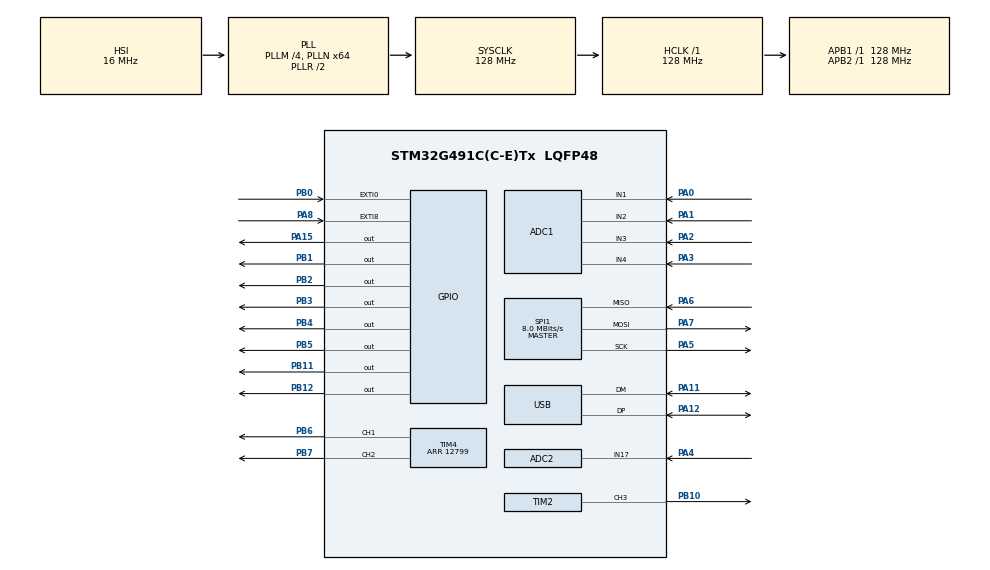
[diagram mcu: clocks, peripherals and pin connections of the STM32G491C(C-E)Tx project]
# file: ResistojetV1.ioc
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ADC1.Channel-1\#ChannelRegularConversion=ADC_CHANNEL_3
ADC1.Channel-10\#ChannelRegularConversion=ADC_CHANNEL_1
ADC1.Channel-8\#ChannelRegularConversion=ADC_CHANNEL_2
ADC1.Channel-9\#ChannelRegularConversion=ADC_CHANNEL_4
ADC1.DMAContinuousRequests=ENABLE
ADC1.EOCSelection=ADC_EOC_SEQ_CONV
ADC1.ExternalTrigConv=ADC_EXTERNALTRIG_T6_TRGO
ADC1.NbrOfConversion=4
ADC1.NbrOfConversionFlag=1
ADC1.OffsetNumber-10\#ChannelRegularConversion=ADC_OFFSET_NONE
ADC1.OffsetNumber-8\#ChannelRegularConversion=ADC_OFFSET_NONE
ADC1.OffsetNumber-9\#ChannelRegularConversion=ADC_OFFSET_NONE
ADC1.Overrun=ADC_OVR_DATA_OVERWRITTEN
ADC1.Rank-10\#ChannelRegularConversion=4
ADC1.Rank-8\#ChannelRegularConversion=2
ADC1.Rank-9\#ChannelRegularConversion=3
ADC1.SamplingTime-1\#ChannelRegularConversion=ADC_SAMPLETIME_6CYCLES_5
ADC1.SamplingTime-10\#ChannelRegularConversion=ADC_SAMPLETIME_6CYCLES_5
ADC1.SamplingTime-8\#ChannelRegularConversion=ADC_SAMPLETIME_6CYCLES_5
ADC1.SamplingTime-9\#ChannelRegularConversion=ADC_SAMPLETIME_6CYCLES_5
ADC1.master=1
ADC2.Channel-0\#ChannelRegularConversion=ADC_CHANNEL_17
ADC2.DMAContinuousRequests=ENABLE
ADC2.ExternalTrigConv=ADC_EXTERNALTRIG_T6_TRGO
ADC2.NbrOfConversionFlag=1
ADC2.OffsetNumber-0\#ChannelRegularConversion=ADC_OFFSET_NONE
ADC2.Overrun=ADC_OVR_DATA_OVERWRITTEN
ADC2.Rank-0\#ChannelRegularConversion=1
ADC2.SamplingTime-0\#ChannelRegularConversion=ADC_SAMPLETIME_6CYCLES_5
Dma.ADC1.2.Direction=DMA_PERIPH_TO_MEMORY
Dma.ADC1.2.EventEnable=DISABLE
Dma.ADC1.2.Instance=DMA1_Channel1
Dma.ADC1.2.MemDataAlignment=DMA_MDATAALIGN_HALFWORD
Dma.ADC1.2.MemInc=DMA_MINC_ENABLE
Dma.ADC1.2.Mode=DMA_CIRCULAR
Dma.ADC1.2.PeriphDataAlignment=DMA_PDATAALIGN_HALFWORD
Dma.ADC1.2.PeriphInc=DMA_PINC_DISABLE
Dma.ADC1.2.Polarity=HAL_DMAMUX_REQ_GEN_RISING
Dma.ADC1.2.Priority=DMA_PRIORITY_HIGH
Dma.ADC1.2.RequestNumber=1
Dma.ADC1.2.SignalID=NONE
Dma.ADC1.2.SyncEnable=DISABLE
Dma.ADC1.2.SyncPolarity=HAL_DMAMUX_SYNC_NO_EVENT
Dma.ADC1.2.SyncRequestNumber=1
Dma.ADC1.2.SyncSignalID=NONE
Dma.ADC2.0.Direction=DMA_PERIPH_TO_MEMORY
Dma.ADC2.0.EventEnable=DISABLE
Dma.ADC2.0.Instance=DMA1_Channel2
Dma.ADC2.0.MemDataAlignment=DMA_MDATAALIGN_HALFWORD
Dma.ADC2.0.MemInc=DMA_MINC_ENABLE
Dma.ADC2.0.Mode=DMA_CIRCULAR
Dma.ADC2.0.PeriphDataAlignment=DMA_PDATAALIGN_HALFWORD
Dma.ADC2.0.PeriphInc=DMA_PINC_DISABLE
Dma.ADC2.0.Polarity=HAL_DMAMUX_REQ_GEN_RISING
Dma.ADC2.0.Priority=DMA_PRIORITY_HIGH
Dma.ADC2.0.RequestNumber=1
Dma.ADC2.0.SignalID=NONE
Dma.ADC2.0.SyncEnable=DISABLE
Dma.ADC2.0.SyncPolarity=HAL_DMAMUX_SYNC_NO_EVENT
Dma.ADC2.0.SyncRequestNumber=1
Dma.ADC2.0.SyncSignalID=NONE
Dma.Request0=ADC2
Dma.Request1=SPI1_RX
Dma.Request2=ADC1
Dma.Request3=SPI1_TX
Dma.SPI1_RX.1.Direction=DMA_PERIPH_TO_MEMORY
Dma.SPI1_RX.1.EventEnable=DISABLE
Dma.SPI1_RX.1.Instance=DMA1_Channel3
Dma.SPI1_RX.1.MemDataAlignment=DMA_MDATAALIGN_BYTE
Dma.SPI1_RX.1.MemInc=DMA_MINC_ENABLE
Dma.SPI1_RX.1.Mode=DMA_NORMAL
Dma.SPI1_RX.1.PeriphDataAlignment=DMA_PDATAALIGN_BYTE
Dma.SPI1_RX.1.PeriphInc=DMA_PINC_DISABLE
Dma.SPI1_RX.1.Polarity=HAL_DMAMUX_REQ_GEN_RISING
Dma.SPI1_RX.1.Priority=DMA_PRIORITY_VERY_HIGH
Dma.SPI1_RX.1.RequestNumber=1
Dma.SPI1_RX.1.SignalID=NONE
Dma.SPI1_RX.1.SyncEnable=DISABLE
Dma.SPI1_RX.1.SyncPolarity=HAL_DMAMUX_SYNC_NO_EVENT
Dma.SPI1_RX.1.SyncRequestNumber=1
Dma.SPI1_RX.1.SyncSignalID=NONE
Dma.SPI1_TX.3.Direction=DMA_MEMORY_TO_PERIPH
Dma.SPI1_TX.3.EventEnable=DISABLE
Dma.SPI1_TX.3.Instance=DMA1_Channel4
Dma.SPI1_TX.3.MemDataAlignment=DMA_MDATAALIGN_BYTE
Dma.SPI1_TX.3.MemInc=DMA_MINC_ENABLE
Dma.SPI1_TX.3.Mode=DMA_NORMAL
Dma.SPI1_TX.3.PeriphDataAlignment=DMA_PDATAALIGN_BYTE
Dma.SPI1_TX.3.PeriphInc=DMA_PINC_DISABLE
Dma.SPI1_TX.3.Polarity=HAL_DMAMUX_REQ_GEN_RISING
Dma.SPI1_TX.3.Priority=DMA_PRIORITY_VERY_HIGH
Dma.SPI1_TX.3.RequestNumber=1
Dma.SPI1_TX.3.SignalID=NONE
Dma.SPI1_TX.3.SyncEnable=DISABLE
Dma.SPI1_TX.3.SyncPolarity=HAL_DMAMUX_SYNC_NO_EVENT
Dma.SPI1_TX.3.SyncRequestNumber=1
Dma.SPI1_TX.3.SyncSignalID=NONE
Mcu.Family=STM32G4
Mcu.Name=STM32G491C(C-E)Tx
Mcu.Package=LQFP48
NVIC.DMA1_Channel1_IRQn=true\:0\:0\:false\:false\:true\:false\:true\:true
NVIC.DMA1_Channel2_IRQn=true\:0\:0\:false\:false\:true\:false\:true\:true
NVIC.DMA1_Channel3_IRQn=true\:0\:0\:false\:false\:true\:false\:true\:true
NVIC.DMA1_Channel4_IRQn=true\:0\:0\:false\:false\:true\:false\:true\:true
NVIC.PriorityGroup=NVIC_PRIORITYGROUP_4
NVIC.USB_LP_IRQn=true\:0\:0\:false\:false\:true\:false\:true\:true
PA0.Mode=IN1-Single-Ended
PA0.Signal=ADC1_IN1
PA1.Mode=IN2-Single-Ended
PA1.Signal=ADC1_IN2
PA11.Mode=Device
PA11.Signal=USB_DM
PA12.Mode=Device
PA12.Signal=USB_DP
PA13.Mode=Serial_Wire
PA13.Signal=SYS_JTMS-SWDIO
PA14.Mode=Serial_Wire
PA14.Signal=SYS_JTCK-SWCLK
PA15.Signal=GPIO_Output
PA2.Mode=IN3-Single-Ended
PA2.Signal=ADC1_IN3
PA3.Mode=IN4-Single-Ended
PA3.Signal=ADC1_IN4
PA4.Mode=IN17-Single-Ended
PA4.Signal=ADC2_IN17
PA5.Mode=Full_Duplex_Master
PA5.Signal=SPI1_SCK
PA6.Mode=Full_Duplex_Master
PA6.Signal=SPI1_MISO
PA7.Mode=Full_Duplex_Master
PA7.Signal=SPI1_MOSI
PA8.Signal=GPXTI8
PB0.Signal=GPXTI0
PB1.PinState=GPIO_PIN_SET
PB1.Signal=GPIO_Output
PB10.Signal=S_TIM2_CH3
PB11.Signal=GPIO_Output
PB12.Signal=GPIO_Output
PB2.PinState=GPIO_PIN_SET
PB2.Signal=GPIO_Output
PB3.Signal=GPIO_Output
PB4.Signal=GPIO_Output
PB5.Signal=GPIO_Output
PB6.Signal=S_TIM4_CH1
PB7.Signal=S_TIM4_CH2
ProjectManager.HeapSize=0x200
ProjectManager.StackSize=0x400
ProjectManager.TargetToolchain=STM32CubeIDE
RCC.ADC12Freq_Value=128000000
RCC.ADC345Freq_Value=128000000
RCC.AHBFreq_Value=128000000
RCC.APB1Freq_Value=128000000
RCC.APB1TimFreq_Value=128000000
RCC.APB2Freq_Value=128000000
RCC.APB2TimFreq_Value=128000000
RCC.CortexFreq_Value=128000000
RCC.EXTERNAL_CLOCK_VALUE=12288000
RCC.HCLKFreq_Value=128000000
RCC.HSE_VALUE=8000000
RCC.HSI48_VALUE=48000000
RCC.HSI_VALUE=16000000
RCC.LSE_VALUE=32768
RCC.PLLM=RCC_PLLM_DIV4
RCC.PLLN=64
RCC.PLLP=RCC_PLLP_DIV4
RCC.SYSCLKFreq_VALUE=128000000
RCC.SYSCLKSource=RCC_SYSCLKSOURCE_PLLCLK
RCC.USBFreq_Value=48000000
RCC.VCOOutputFreq_Value=256000000
SH.S_TIM2_CH3.0=TIM2_CH3,PWM Generation3 CH3
SH.S_TIM4_CH1.0=TIM4_CH1,PWM Generation1 CH1
SH.S_TIM4_CH2.0=TIM4_CH2,PWM Generation2 CH2
SPI1.BaudRatePrescaler=SPI_BAUDRATEPRESCALER_16
SPI1.CLKPhase=SPI_PHASE_2EDGE
SPI1.CalculateBaudRate=8.0 MBits/s
SPI1.DataSize=SPI_DATASIZE_8BIT
SPI1.Direction=SPI_DIRECTION_2LINES
SPI1.Mode=SPI_MODE_MASTER
SPI1.VirtualType=VM_MASTER
TIM2.Channel-PWM\ Generation3\ CH3=TIM_CHANNEL_3
TIM2.PeriodNoDither=15
TIM2.PulseNoDither_3=8
TIM4.AutoReloadPreload=TIM_AUTORELOAD_PRELOAD_DISABLE
TIM4.Channel-PWM\ Generation1\ CH1=TIM_CHANNEL_1
TIM4.Channel-PWM\ Generation2\ CH2=TIM_CHANNEL_2
TIM4.PeriodNoDither=12799
TIM6.PeriodNoDither=399
TIM6.TIM_MasterOutputTrigger=TIM_TRGO_UPDATE
USB_DEVICE.CLASS_NAME_FS=CDC
USB_DEVICE.VirtualMode=Cdc
USB_DEVICE.VirtualModeFS=Cdc_FS
VP_SYS_VS_DBSignals.Mode=DisableDeadBatterySignals
VP_TIM2_VS_ClockSourceINT.Mode=Internal
VP_TIM4_VS_ClockSourceINT.Mode=Internal
VP_TIM6_VS_ClockSourceINT.Mode=Enable_Timer
VP_USB_DEVICE_VS_USB_DEVICE_CDC_FS.Mode=CDC_FS
board=custom

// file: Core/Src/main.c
/* USER CODE BEGIN Header */
/**
  ******************************************************************************
  * @file           : main.c
  * @brief          : Main program body
  ******************************************************************************
  * @attention
  *
  * Copyright (c) 2026 STMicroelectronics.
  * All rights reserved.
  *
  * This software is licensed under terms that can be found in the LICENSE file
  * in the root directory of this software component.
  * If no LICENSE file comes with this software, it is provided AS-IS.
  *
  ******************************************************************************
  */
/* USER CODE END Header */
#include "main.h"
#include "usb_device.h"

/* USER CODE BEGIN Includes */
#include "pins.h"
#include "usb.h"
#include "sensors.h"
#include "control.h"
/* USER CODE END Includes */

/* USER CODE BEGIN PD */
#define ADC1_BUFFER_SIZE 4
#define ADC2_BUFFER_SIZE 1
/* USER CODE END PD */

ADC_HandleTypeDef hadc1;
ADC_HandleTypeDef hadc2;
DMA_HandleTypeDef hdma_adc1;
DMA_HandleTypeDef hdma_adc2;

SPI_HandleTypeDef hspi1;
DMA_HandleTypeDef hdma_spi1_rx;
DMA_HandleTypeDef hdma_spi1_tx;

TIM_HandleTypeDef htim2;
TIM_HandleTypeDef htim4;
TIM_HandleTypeDef htim6;

/* USER CODE BEGIN PV */
// ADC
uint16_t adc1Buffer[ADC1_BUFFER_SIZE];
uint16_t adc2Buffer[ADC2_BUFFER_SIZE];

// Flags
uint8_t settlingFlag = 0;
uint8_t primingFlag = 0;
uint8_t firingFlag = 0;
uint8_t streamFlag = 0;
uint8_t fillValveFlag = 0;
uint8_t plenumValveFlag = 0;
uint8_t chamberValveFlag = 0;

/* USER CODE END PV */

void SystemClock_Config(void);
static void MX_GPIO_Init(void);
static void MX_DMA_Init(void);
static void MX_ADC1_Init(void);
static void MX_ADC2_Init(void);
static void MX_SPI1_Init(void);
static void MX_TIM2_Init(void);
static void MX_TIM6_Init(void);
static void MX_TIM4_Init(void);
/* USER CODE BEGIN PFP */
void thrusterStartup(void);

void sensorTask(void);
void stateTask(void);
void controlTask(void);
void valveTask(void);
void debugLEDTask(void);

float interpolateLinear(float x, float x1, float x2, float y1, float y2);
/* USER CODE END PFP */

int main(void)
{

  /* MCU Configuration--------------------------------------------------------*/

  /* Reset of all peripherals, Initializes the Flash interface and the Systick. */
  HAL_Init();

  /* Configure the system clock */
  SystemClock_Config();

  /* Initialize all configured peripherals */
  MX_GPIO_Init();
  MX_DMA_Init();
  MX_ADC1_Init();
  MX_ADC2_Init();
  MX_SPI1_Init();
  MX_TIM2_Init();
  MX_USB_Device_Init();
  MX_TIM6_Init();
  MX_TIM4_Init();
  /* USER CODE BEGIN 2 */
  thrusterStartup();
  /* USER CODE END 2 */

  /* Infinite loop */
  /* USER CODE BEGIN WHILE */
  while (1)
  {
	  sensorTask();
	  usbCommandTask();
	  stateTask();
	  controlTask();
	  usbStreamTask();
	  valveTask();
	  debugLEDTask();
    /* USER CODE END WHILE */

  }
}

void SystemClock_Config(void)
{
  RCC_OscInitTypeDef RCC_OscInitStruct = {0};
  RCC_ClkInitTypeDef RCC_ClkInitStruct = {0};

  /** Configure the main internal regulator output voltage
  */
  HAL_PWREx_ControlVoltageScaling(PWR_REGULATOR_VOLTAGE_SCALE1);

  /** Initializes the RCC Oscillators according to the specified parameters
  * in the RCC_OscInitTypeDef structure.
  */
  RCC_OscInitStruct.OscillatorType = RCC_OSCILLATORTYPE_HSI|RCC_OSCILLATORTYPE_HSI48;
  RCC_OscInitStruct.HSIState = RCC_HSI_ON;
  RCC_OscInitStruct.HSICalibrationValue = RCC_HSICALIBRATION_DEFAULT;
  RCC_OscInitStruct.HSI48State = RCC_HSI48_ON;
  RCC_OscInitStruct.PLL.PLLState = RCC_PLL_ON;
  RCC_OscInitStruct.PLL.PLLSource = RCC_PLLSOURCE_HSI;
  RCC_OscInitStruct.PLL.PLLM = RCC_PLLM_DIV4;
  RCC_OscInitStruct.PLL.PLLN = 64;
  RCC_OscInitStruct.PLL.PLLP = RCC_PLLP_DIV4;
  RCC_OscInitStruct.PLL.PLLQ = RCC_PLLQ_DIV2;
  RCC_OscInitStruct.PLL.PLLR = RCC_PLLR_DIV2;
  if (HAL_RCC_OscConfig(&RCC_OscInitStruct) != HAL_OK)
  {
    Error_Handler();
  }

  /** Initializes the CPU, AHB and APB buses clocks
  */
  RCC_ClkInitStruct.ClockType = RCC_CLOCKTYPE_HCLK|RCC_CLOCKTYPE_SYSCLK
                              |RCC_CLOCKTYPE_PCLK1|RCC_CLOCKTYPE_PCLK2;
  RCC_ClkInitStruct.SYSCLKSource = RCC_SYSCLKSOURCE_PLLCLK;
  RCC_ClkInitStruct.AHBCLKDivider = RCC_SYSCLK_DIV1;
  RCC_ClkInitStruct.APB1CLKDivider = RCC_HCLK_DIV1;
  RCC_ClkInitStruct.APB2CLKDivider = RCC_HCLK_DIV1;

  if (HAL_RCC_ClockConfig(&RCC_ClkInitStruct, FLASH_LATENCY_4) != HAL_OK)
  {
    Error_Handler();
  }
}

static void MX_ADC1_Init(void)
{

  ADC_MultiModeTypeDef multimode = {0};
  ADC_ChannelConfTypeDef sConfig = {0};

  /** Common config
  */
  hadc1.Instance = ADC1;
  hadc1.Init.ClockPrescaler = ADC_CLOCK_SYNC_PCLK_DIV4;
  hadc1.Init.Resolution = ADC_RESOLUTION_12B;
  hadc1.Init.DataAlign = ADC_DATAALIGN_RIGHT;
  hadc1.Init.GainCompensation = 0;
  hadc1.Init.ScanConvMode = ADC_SCAN_ENABLE;
  hadc1.Init.EOCSelection = ADC_EOC_SEQ_CONV;
  hadc1.Init.LowPowerAutoWait = DISABLE;
  hadc1.Init.ContinuousConvMode = DISABLE;
  hadc1.Init.NbrOfConversion = 4;
  hadc1.Init.DiscontinuousConvMode = DISABLE;
  hadc1.Init.ExternalTrigConv = ADC_EXTERNALTRIG_T6_TRGO;
  hadc1.Init.ExternalTrigConvEdge = ADC_EXTERNALTRIGCONVEDGE_RISING;
  hadc1.Init.DMAContinuousRequests = ENABLE;
  hadc1.Init.Overrun = ADC_OVR_DATA_OVERWRITTEN;
  hadc1.Init.OversamplingMode = DISABLE;
  if (HAL_ADC_Init(&hadc1) != HAL_OK)
  {
    Error_Handler();
  }

  /** Configure the ADC multi-mode
  */
  multimode.Mode = ADC_MODE_INDEPENDENT;
  if (HAL_ADCEx_MultiModeConfigChannel(&hadc1, &multimode) != HAL_OK)
  {
    Error_Handler();
  }

  /** Configure Regular Channel
  */
  sConfig.Channel = ADC_CHANNEL_2;
  sConfig.Rank = ADC_REGULAR_RANK_2;
  sConfig.SamplingTime = ADC_SAMPLETIME_6CYCLES_5;
  sConfig.SingleDiff = ADC_SINGLE_ENDED;
  sConfig.OffsetNumber = ADC_OFFSET_NONE;
  sConfig.Offset = 0;
  if (HAL_ADC_ConfigChannel(&hadc1, &sConfig) != HAL_OK)
  {
    Error_Handler();
  }

  /** Configure Regular Channel
  */
  sConfig.Channel = ADC_CHANNEL_4;
  sConfig.Rank = ADC_REGULAR_RANK_3;
  if (HAL_ADC_ConfigChannel(&hadc1, &sConfig) != HAL_OK)
  {
    Error_Handler();
  }

  /** Configure Regular Channel
  */
  sConfig.Channel = ADC_CHANNEL_1;
  sConfig.Rank = ADC_REGULAR_RANK_4;
  if (HAL_ADC_ConfigChannel(&hadc1, &sConfig) != HAL_OK)
  {
    Error_Handler();
  }

  /** Configure Regular Channel
  */
  sConfig.Channel = ADC_CHANNEL_3;
  sConfig.Rank = ADC_REGULAR_RANK_1;
  if (HAL_ADC_ConfigChannel(&hadc1, &sConfig) != HAL_OK)
  {
    Error_Handler();
  }

}

static void MX_ADC2_Init(void)
{

  ADC_ChannelConfTypeDef sConfig = {0};

  /** Common config
  */
  hadc2.Instance = ADC2;
  hadc2.Init.ClockPrescaler = ADC_CLOCK_SYNC_PCLK_DIV4;
  hadc2.Init.Resolution = ADC_RESOLUTION_12B;
  hadc2.Init.DataAlign = ADC_DATAALIGN_RIGHT;
  hadc2.Init.GainCompensation = 0;
  hadc2.Init.ScanConvMode = ADC_SCAN_DISABLE;
  hadc2.Init.EOCSelection = ADC_EOC_SINGLE_CONV;
  hadc2.Init.LowPowerAutoWait = DISABLE;
  hadc2.Init.ContinuousConvMode = DISABLE;
  hadc2.Init.NbrOfConversion = 1;
  hadc2.Init.DiscontinuousConvMode = DISABLE;
  hadc2.Init.ExternalTrigConv = ADC_EXTERNALTRIG_T6_TRGO;
  hadc2.Init.ExternalTrigConvEdge = ADC_EXTERNALTRIGCONVEDGE_RISING;
  hadc2.Init.DMAContinuousRequests = ENABLE;
  hadc2.Init.Overrun = ADC_OVR_DATA_OVERWRITTEN;
  hadc2.Init.OversamplingMode = DISABLE;
  if (HAL_ADC_Init(&hadc2) != HAL_OK)
  {
    Error_Handler();
  }

  /** Configure Regular Channel
  */
  sConfig.Channel = ADC_CHANNEL_17;
  sConfig.Rank = ADC_REGULAR_RANK_1;
  sConfig.SamplingTime = ADC_SAMPLETIME_6CYCLES_5;
  sConfig.SingleDiff = ADC_SINGLE_ENDED;
  sConfig.OffsetNumber = ADC_OFFSET_NONE;
  sConfig.Offset = 0;
  if (HAL_ADC_ConfigChannel(&hadc2, &sConfig) != HAL_OK)
  {
    Error_Handler();
  }

}

static void MX_SPI1_Init(void)
{

  /* SPI1 parameter configuration*/
  hspi1.Instance = SPI1;
  hspi1.Init.Mode = SPI_MODE_MASTER;
  hspi1.Init.Direction = SPI_DIRECTION_2LINES;
  hspi1.Init.DataSize = SPI_DATASIZE_8BIT;
  hspi1.Init.CLKPolarity = SPI_POLARITY_LOW;
  hspi1.Init.CLKPhase = SPI_PHASE_2EDGE;
  hspi1.Init.NSS = SPI_NSS_SOFT;
  hspi1.Init.BaudRatePrescaler = SPI_BAUDRATEPRESCALER_16;
  hspi1.Init.FirstBit = SPI_FIRSTBIT_MSB;
  hspi1.Init.TIMode = SPI_TIMODE_DISABLE;
  hspi1.Init.CRCCalculation = SPI_CRCCALCULATION_DISABLE;
  hspi1.Init.CRCPolynomial = 7;
  hspi1.Init.CRCLength = SPI_CRC_LENGTH_DATASIZE;
  hspi1.Init.NSSPMode = SPI_NSS_PULSE_DISABLE;
  if (HAL_SPI_Init(&hspi1) != HAL_OK)
  {
    Error_Handler();
  }

}

static void MX_TIM2_Init(void)
{

  TIM_ClockConfigTypeDef sClockSourceConfig = {0};
  TIM_MasterConfigTypeDef sMasterConfig = {0};
  TIM_OC_InitTypeDef sConfigOC = {0};

  htim2.Instance = TIM2;
  htim2.Init.Prescaler = 0;
  htim2.Init.CounterMode = TIM_COUNTERMODE_UP;
  htim2.Init.Period = 15;
  htim2.Init.ClockDivision = TIM_CLOCKDIVISION_DIV1;
  htim2.Init.AutoReloadPreload = TIM_AUTORELOAD_PRELOAD_DISABLE;
  if (HAL_TIM_Base_Init(&htim2) != HAL_OK)
  {
    Error_Handler();
  }
  sClockSourceConfig.ClockSource = TIM_CLOCKSOURCE_INTERNAL;
  if (HAL_TIM_ConfigClockSource(&htim2, &sClockSourceConfig) != HAL_OK)
  {
    Error_Handler();
  }
  if (HAL_TIM_PWM_Init(&htim2) != HAL_OK)
  {
    Error_Handler();
  }
  sMasterConfig.MasterOutputTrigger = TIM_TRGO_RESET;
  sMasterConfig.MasterSlaveMode = TIM_MASTERSLAVEMODE_DISABLE;
  if (HAL_TIMEx_MasterConfigSynchronization(&htim2, &sMasterConfig) != HAL_OK)
  {
    Error_Handler();
  }
  sConfigOC.OCMode = TIM_OCMODE_PWM1;
  sConfigOC.Pulse = 8;
  sConfigOC.OCPolarity = TIM_OCPOLARITY_HIGH;
  sConfigOC.OCFastMode = TIM_OCFAST_DISABLE;
  if (HAL_TIM_PWM_ConfigChannel(&htim2, &sConfigOC, TIM_CHANNEL_3) != HAL_OK)
  {
    Error_Handler();
  }
  HAL_TIM_MspPostInit(&htim2);

}

static void MX_TIM4_Init(void)
{

  TIM_ClockConfigTypeDef sClockSourceConfig = {0};
  TIM_MasterConfigTypeDef sMasterConfig = {0};
  TIM_OC_InitTypeDef sConfigOC = {0};

  htim4.Instance = TIM4;
  htim4.Init.Prescaler = 0;
  htim4.Init.CounterMode = TIM_COUNTERMODE_UP;
  htim4.Init.Period = 12799;
  htim4.Init.ClockDivision = TIM_CLOCKDIVISION_DIV1;
  htim4.Init.AutoReloadPreload = TIM_AUTORELOAD_PRELOAD_DISABLE;
  if (HAL_TIM_Base_Init(&htim4) != HAL_OK)
  {
    Error_Handler();
  }
  sClockSourceConfig.ClockSource = TIM_CLOCKSOURCE_INTERNAL;
  if (HAL_TIM_ConfigClockSource(&htim4, &sClockSourceConfig) != HAL_OK)
  {
    Error_Handler();
  }
  if (HAL_TIM_PWM_Init(&htim4) != HAL_OK)
  {
    Error_Handler();
  }
  sMasterConfig.MasterOutputTrigger = TIM_TRGO_RESET;
  sMasterConfig.MasterSlaveMode = TIM_MASTERSLAVEMODE_DISABLE;
  if (HAL_TIMEx_MasterConfigSynchronization(&htim4, &sMasterConfig) != HAL_OK)
  {
    Error_Handler();
  }
  sConfigOC.OCMode = TIM_OCMODE_PWM1;
  sConfigOC.Pulse = 0;
  sConfigOC.OCPolarity = TIM_OCPOLARITY_HIGH;
  sConfigOC.OCFastMode = TIM_OCFAST_DISABLE;
  if (HAL_TIM_PWM_ConfigChannel(&htim4, &sConfigOC, TIM_CHANNEL_1) != HAL_OK)
  {
    Error_Handler();
  }
  if (HAL_TIM_PWM_ConfigChannel(&htim4, &sConfigOC, TIM_CHANNEL_2) != HAL_OK)
  {
    Error_Handler();
  }
  HAL_TIM_MspPostInit(&htim4);

}

static void MX_TIM6_Init(void)
{

  TIM_MasterConfigTypeDef sMasterConfig = {0};

  htim6.Instance = TIM6;
  htim6.Init.Prescaler = 0;
  htim6.Init.CounterMode = TIM_COUNTERMODE_UP;
  htim6.Init.Period = 399;
  htim6.Init.AutoReloadPreload = TIM_AUTORELOAD_PRELOAD_DISABLE;
  if (HAL_TIM_Base_Init(&htim6) != HAL_OK)
  {
    Error_Handler();
  }
  sMasterConfig.MasterOutputTrigger = TIM_TRGO_UPDATE;
  sMasterConfig.MasterSlaveMode = TIM_MASTERSLAVEMODE_DISABLE;
  if (HAL_TIMEx_MasterConfigSynchronization(&htim6, &sMasterConfig) != HAL_OK)
  {
    Error_Handler();
  }

}

static void MX_DMA_Init(void)
{

  /* DMA controller clock enable */
  __HAL_RCC_DMAMUX1_CLK_ENABLE();
  __HAL_RCC_DMA1_CLK_ENABLE();

  /* DMA interrupt init */
  /* DMA1_Channel1_IRQn interrupt configuration */
  HAL_NVIC_SetPriority(DMA1_Channel1_IRQn, 0, 0);
  HAL_NVIC_EnableIRQ(DMA1_Channel1_IRQn);
  /* DMA1_Channel2_IRQn interrupt configuration */
  HAL_NVIC_SetPriority(DMA1_Channel2_IRQn, 0, 0);
  HAL_NVIC_EnableIRQ(DMA1_Channel2_IRQn);
  /* DMA1_Channel3_IRQn interrupt configuration */
  HAL_NVIC_SetPriority(DMA1_Channel3_IRQn, 0, 0);
  HAL_NVIC_EnableIRQ(DMA1_Channel3_IRQn);
  /* DMA1_Channel4_IRQn interrupt configuration */
  HAL_NVIC_SetPriority(DMA1_Channel4_IRQn, 0, 0);
  HAL_NVIC_EnableIRQ(DMA1_Channel4_IRQn);

}

static void MX_GPIO_Init(void)
{
  GPIO_InitTypeDef GPIO_InitStruct = {0};

  /* GPIO Ports Clock Enable */
  __HAL_RCC_GPIOA_CLK_ENABLE();
  __HAL_RCC_GPIOB_CLK_ENABLE();

  /*Configure GPIO pin Output Level */
  HAL_GPIO_WritePin(GPIOB, GPIO_PIN_1|GPIO_PIN_2, GPIO_PIN_SET);

  /*Configure GPIO pin Output Level */
  HAL_GPIO_WritePin(GPIOB, GPIO_PIN_11|GPIO_PIN_12|GPIO_PIN_3|GPIO_PIN_4
                          |GPIO_PIN_5, GPIO_PIN_RESET);

  /*Configure GPIO pin Output Level */
  HAL_GPIO_WritePin(GPIOA, GPIO_PIN_15, GPIO_PIN_RESET);

  /*Configure GPIO pin : PB0 */
  GPIO_InitStruct.Pin = GPIO_PIN_0;
  GPIO_InitStruct.Mode = GPIO_MODE_IT_RISING;
  GPIO_InitStruct.Pull = GPIO_NOPULL;
  HAL_GPIO_Init(GPIOB, &GPIO_InitStruct);

  /*Configure GPIO pins : PB1 PB2 PB11 PB12
                           PB3 PB4 PB5 */
  GPIO_InitStruct.Pin = GPIO_PIN_1|GPIO_PIN_2|GPIO_PIN_11|GPIO_PIN_12
                          |GPIO_PIN_3|GPIO_PIN_4|GPIO_PIN_5;
  GPIO_InitStruct.Mode = GPIO_MODE_OUTPUT_PP;
  GPIO_InitStruct.Pull = GPIO_NOPULL;
  GPIO_InitStruct.Speed = GPIO_SPEED_FREQ_LOW;
  HAL_GPIO_Init(GPIOB, &GPIO_InitStruct);

  /*Configure GPIO pin : PA8 */
  GPIO_InitStruct.Pin = GPIO_PIN_8;
  GPIO_InitStruct.Mode = GPIO_MODE_IT_RISING;
  GPIO_InitStruct.Pull = GPIO_NOPULL;
  HAL_GPIO_Init(GPIOA, &GPIO_InitStruct);

  /*Configure GPIO pin : PA15 */
  GPIO_InitStruct.Pin = GPIO_PIN_15;
  GPIO_InitStruct.Mode = GPIO_MODE_OUTPUT_PP;
  GPIO_InitStruct.Pull = GPIO_NOPULL;
  GPIO_InitStruct.Speed = GPIO_SPEED_FREQ_LOW;
  HAL_GPIO_Init(GPIOA, &GPIO_InitStruct);

}

/* USER CODE BEGIN 4 */
void thrusterStartup(void){
    HAL_GPIO_WritePin(FILL_VALVE_Port, FILL_VALVE_Pin, GPIO_PIN_RESET);
    HAL_GPIO_WritePin(PLENUM_VALVE_Port, PLENUM_VALVE_Pin, GPIO_PIN_RESET);
    HAL_GPIO_WritePin(CHAMBER_VALVE_Port, CHAMBER_VALVE_Pin, GPIO_PIN_RESET);

    __HAL_TIM_SET_COMPARE(&htim4, HEATER1_CHANNEL, 0);
    __HAL_TIM_SET_COMPARE(&htim4, HEATER2_CHANNEL, 0);

    HAL_TIM_PWM_Start(&htim4, HEATER1_CHANNEL);
    HAL_TIM_PWM_Start(&htim4, HEATER2_CHANNEL);

    // Initialize ADC
    HAL_TIM_Base_Start(&htim6);
    HAL_ADC_Start_DMA(&hadc1, (uint32_t *)adc1Buffer, ADC1_BUFFER_SIZE);
    HAL_ADC_Start_DMA(&hadc2, (uint32_t *)adc2Buffer, ADC2_BUFFER_SIZE);

    // Initialize ADS131M04
    HAL_TIM_PWM_Start(&htim2, ADS_CLKIN_CHANNEL);
    HAL_GPIO_WritePin(ADS_CS_Port, ADS_CS_Pin, GPIO_PIN_SET);
    HAL_GPIO_WritePin(ADS_RESET_Port, ADS_RESET_Pin, GPIO_PIN_SET);
}

void sensorTask(void){

}

void stateTask(void){
	thrusterModeHandler();
	thrusterStateHandler();
}

void controlTask(void){
	settlingFunc();
	primingFunc();
	firingFunc();
	PIDFunc();
}

void valveTask(void){
	HAL_GPIO_WritePin(FILL_VALVE_Port, FILL_VALVE_Pin,
			fillValveFlag ? GPIO_PIN_SET : GPIO_PIN_RESET);

	HAL_GPIO_WritePin(PLENUM_VALVE_Port, PLENUM_VALVE_Pin,
			plenumValveFlag ? GPIO_PIN_SET : GPIO_PIN_RESET);

	HAL_GPIO_WritePin(CHAMBER_VALVE_Port, CHAMBER_VALVE_Pin,
			chamberValveFlag ? GPIO_PIN_SET : GPIO_PIN_RESET);
}

void debugLEDTask(void){

}
/* USER CODE END 4 */

void Error_Handler(void)
{
  __disable_irq();
  while (1)
  {
  }
}
